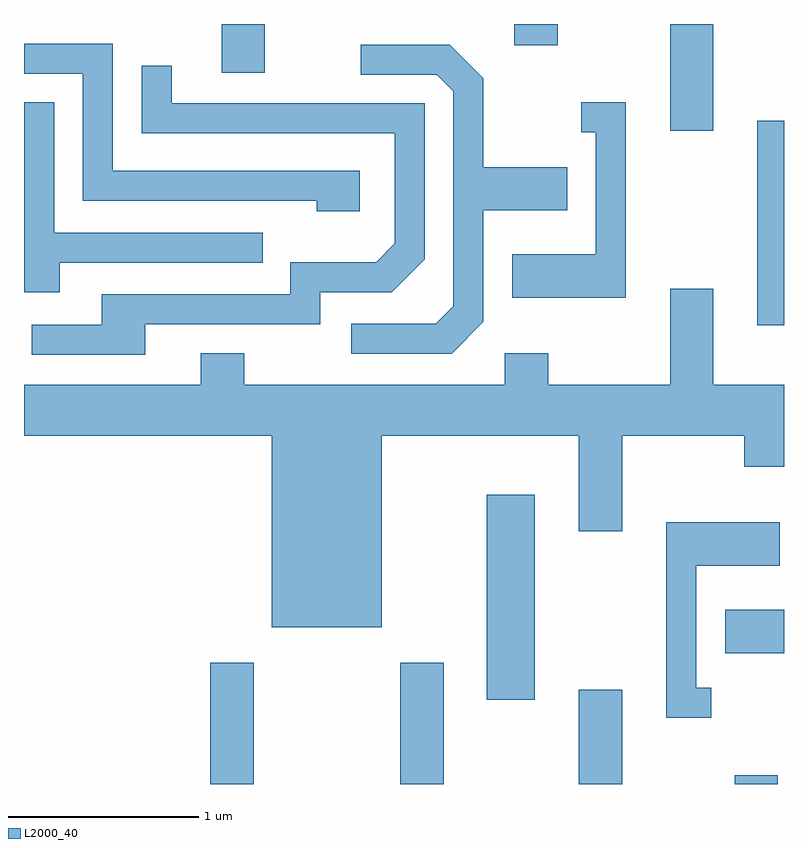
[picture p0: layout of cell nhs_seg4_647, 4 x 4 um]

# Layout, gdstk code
import gdstk
lib = gdstk.Library(unit=1e-6, precision=1e-09)
def R(c, l, rs):  # rectangles x0, y0, x1, y1
    for r in rs: c.add(gdstk.rectangle(r[:2], r[2:], *l))
def P(c, l, *ps):  # polygons
    for p in ps: c.add(gdstk.Polygon(p, *l))
L2000_40 = (2000, 40)

nhs_seg4_647 = lib.new_cell('nhs_seg4_647')
R(nhs_seg4_647, L2000_40, [(204.591,1323.982,204.819,1324.619), (205.591,1323.982,205.819,1324.619), (206.531,1323.982,206.759,1324.479), (207.351,1323.982,207.579,1324.029), (206.046,1324.426,206.299,1325.504), (207.301,1324.671,207.611,1324.899), (207.471,1326.396,207.611,1327.474), (207.011,1327.421,207.239,1327.982), (204.651,1327.726,204.879,1327.982), (206.191,1327.871,206.419,1327.982)])
P(nhs_seg4_647, L2000_40, [(205.379,1327.209),(204.079,1327.209),(204.079,1327.879),(203.611,1327.879),(203.611,1327.721),(203.921,1327.721),(203.921,1327.051),(205.151,1327.051),(205.151,1326.996),(205.379,1326.996)],
  [(206.029,1326.414),(206.029,1327.001),(206.469,1327.001),(206.469,1327.229),(206.029,1327.229),(206.029,1327.697),(205.852,1327.874),(205.383,1327.874),(205.383,1327.716),(205.784,1327.716),(205.871,1327.629),(205.871,1326.497),(205.779,1326.404),(205.333,1326.404),(205.333,1326.246),(205.862,1326.246)],
  [(204.249,1326.401),(205.169,1326.401),(205.169,1326.571),(205.547,1326.571),(205.719,1326.744),(205.719,1327.564),(204.389,1327.564),(204.389,1327.763),(204.231,1327.763),(204.231,1327.406),(205.561,1327.406),(205.561,1326.827),(205.464,1326.729),(205.011,1326.729),(205.011,1326.559),(204.021,1326.559),(204.021,1326.399),(203.653,1326.399),(203.653,1326.241),(204.249,1326.241)],
  [(206.779,1327.569),(206.543,1327.569),(206.543,1327.411),(206.621,1327.411),(206.621,1326.769),(206.181,1326.769),(206.181,1326.541),(206.779,1326.541)],
  [(203.799,1326.726),(204.868,1326.726),(204.868,1326.884),(203.769,1326.884),(203.769,1327.569),(203.611,1327.569),(203.611,1326.571),(203.799,1326.571)],
  [(205.494,1325.816),(206.531,1325.816),(206.531,1325.311),(206.759,1325.311),(206.759,1325.816),(207.401,1325.816),(207.401,1325.651),(207.611,1325.651),(207.611,1326.084),(207.239,1326.084),(207.239,1326.589),(207.011,1326.589),(207.011,1326.084),(206.369,1326.084),(206.369,1326.249),(206.141,1326.249),(206.141,1326.084),(204.769,1326.084),(204.769,1326.249),(204.541,1326.249),(204.541,1326.084),(203.611,1326.084),(203.611,1325.816),(204.916,1325.816),(204.916,1324.806),(205.494,1324.806)],
  [(207.228,1324.489),(207.149,1324.489),(207.149,1325.131),(207.589,1325.131),(207.589,1325.359),(206.991,1325.359),(206.991,1324.331),(207.228,1324.331)])

lib.write_gds('nhs_seg4_647.gds')
